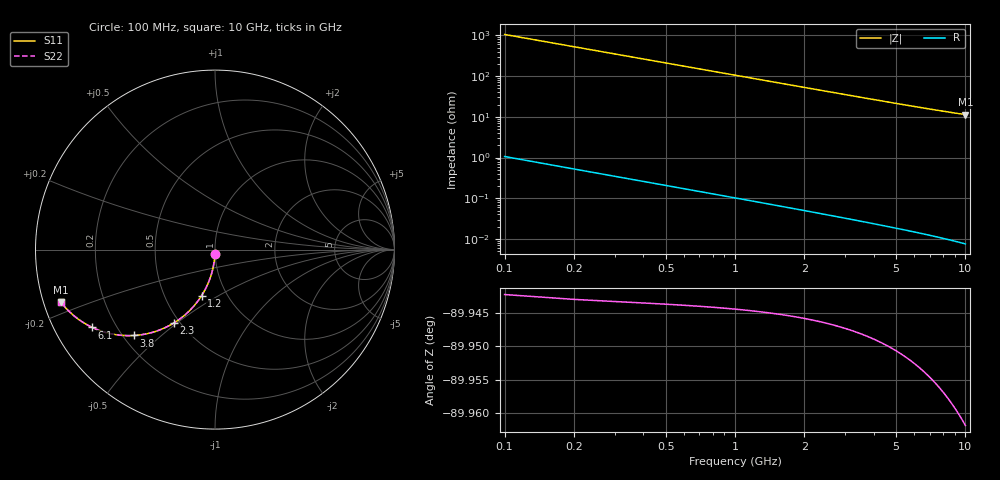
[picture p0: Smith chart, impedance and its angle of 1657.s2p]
# Hz S RI R 50.00
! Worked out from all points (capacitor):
!   100 points, 100 MHz to 10 GHz, reference 50 ohm
!   read as one part in shunt: C = 1.51 pF near 100 MHz
!   lowest |Z| = 11.4 ohm at 10 GHz (marker M1)
!   S11 on the Smith chart (normalised r, x): 100 MHz: 1.00, -0.05; 1.2 GHz: 0.76, -0.42; 2.3 GHz: 0.46, -0.49; 3.8 GHz: 0.24, -0.41; 6.1 GHz: 0.11, -0.29; 10 GHz: 0.05, -0.17
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1e8  -0.000462 -0.0232  0.9993 -0.0242  0.9993 -0.0242  -0.000462 -0.0232
2e8  -0.00216 -0.0463  0.9976 -0.0483  0.9976 -0.0483  -0.00216 -0.0463
3e8  -0.00498 -0.0693  0.9948 -0.0722  0.9948 -0.0722  -0.00498 -0.0693
4e8  -0.00888 -0.092  0.9909 -0.0959  0.9909 -0.0959  -0.00888 -0.092
5e8  -0.0138 -0.1145  0.9859 -0.1193  0.9859 -0.1193  -0.0138 -0.1145
6e8  -0.0198 -0.1365  0.9799 -0.1423  0.9799 -0.1423  -0.0198 -0.1365
7e8  -0.0268 -0.1581  0.9729 -0.1649  0.9729 -0.1649  -0.0268 -0.1581
9e8  -0.0436 -0.1997  0.9561 -0.2084  0.9561 -0.2084  -0.0436 -0.1997
1.2e9  -0.0751 -0.2574  0.9246 -0.2691  0.9246 -0.2691  -0.0751 -0.2574
1.5e9  -0.1126 -0.3086  0.887 -0.3231  0.887 -0.3231  -0.1126 -0.3086
1.8e9  -0.1546 -0.3525  0.845 -0.37  0.845 -0.37  -0.1546 -0.3525
2.3e9  -0.2303 -0.4095  0.7692 -0.4319  0.7692 -0.4319  -0.2303 -0.4095
2.8e9  -0.3077 -0.4475  0.6917 -0.4748  0.6917 -0.4748  -0.3077 -0.4475
3.4e9  -0.3967 -0.4721  0.6025 -0.5054  0.6025 -0.5054  -0.3967 -0.4721
3.8e9  -0.4516 -0.4785  0.5475 -0.5158  0.5475 -0.5158  -0.4516 -0.4785
4.4e9  -0.5257 -0.4771  0.4731 -0.5204  0.4731 -0.5204  -0.5257 -0.4771
5.1e9  -0.5995 -0.4641  0.3989 -0.5145  0.3989 -0.5145  -0.5995 -0.4641
6.1e9  -0.6835 -0.4338  0.3143 -0.4945  0.3143 -0.4945  -0.6835 -0.4338
6.7e9  -0.7237 -0.4124  0.2737 -0.4795  0.2737 -0.4795  -0.7237 -0.4124
7.5e9  -0.7679 -0.3828  0.229 -0.4585  0.229 -0.4585  -0.7679 -0.3828
8.4e9  -0.8071 -0.3497  0.1889 -0.4351  0.1889 -0.4351  -0.8071 -0.3497
1e10  -0.8576 -0.2943  0.1367 -0.3977  0.1367 -0.3977  -0.8576 -0.2943
